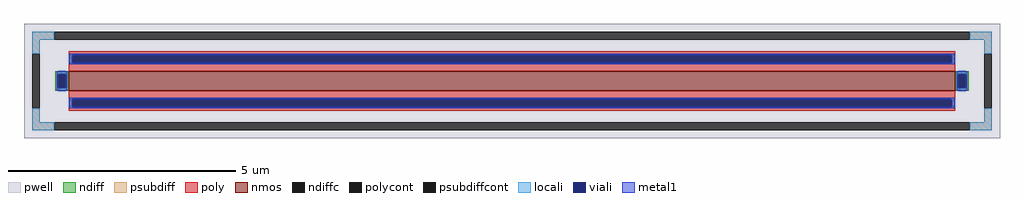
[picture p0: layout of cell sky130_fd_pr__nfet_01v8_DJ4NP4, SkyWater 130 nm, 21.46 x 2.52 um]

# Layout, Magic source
magic
tech sky130A
<< pwell >>
rect -1073 -126 1073 126
<< nmos >>
rect -975 -21 975 21
<< ndiff >>
rect -1004 15 -975 21
rect -1004 -15 -998 15
rect -981 -15 -975 15
rect -1004 -21 -975 -15
rect 975 15 1004 21
rect 975 -15 981 15
rect 998 -15 1004 15
rect 975 -21 1004 -15
<< ndiffc >>
rect -998 -15 -981 15
rect 981 -15 998 15
<< psubdiff >>
rect -1055 91 -1007 108
rect 1007 91 1055 108
rect -1055 60 -1038 91
rect 1038 60 1055 91
rect -1055 -91 -1038 -60
rect 1038 -91 1055 -60
rect -1055 -108 -1007 -91
rect 1007 -108 1055 -91
<< psubdiffcont >>
rect -1007 91 1007 108
rect -1055 -60 -1038 60
rect 1038 -60 1055 60
rect -1007 -108 1007 -91
<< poly >>
rect -975 57 975 65
rect -975 40 -967 57
rect 967 40 975 57
rect -975 21 975 40
rect -975 -40 975 -21
rect -975 -57 -967 -40
rect 967 -57 975 -40
rect -975 -65 975 -57
<< polycont >>
rect -967 40 967 57
rect -967 -57 967 -40
<< locali >>
rect -1055 91 -1007 108
rect 1007 91 1055 108
rect -1055 60 -1038 91
rect 1038 60 1055 91
rect -975 40 -967 57
rect 967 40 975 57
rect -998 15 -981 23
rect -998 -23 -981 -15
rect 981 15 998 23
rect 981 -23 998 -15
rect -975 -57 -967 -40
rect 967 -57 975 -40
rect -1055 -91 -1038 -60
rect 1038 -91 1055 -60
rect -1055 -108 -1007 -91
rect 1007 -108 1055 -91
<< viali >>
rect -967 40 967 57
rect -998 -15 -981 15
rect 981 -15 998 15
rect -967 -57 967 -40
<< metal1 >>
rect -973 57 973 60
rect -973 40 -967 57
rect 967 40 973 57
rect -973 37 973 40
rect -1001 15 -978 21
rect -1001 -15 -998 15
rect -981 -15 -978 15
rect -1001 -21 -978 -15
rect 978 15 1001 21
rect 978 -15 981 15
rect 998 -15 1001 15
rect 978 -21 1001 -15
rect -973 -40 973 -37
rect -973 -57 -967 -40
rect 967 -57 973 -40
rect -973 -60 973 -57
<< properties >>
string FIXED_BBOX -1046 -99 1046 99
string gencell sky130_fd_pr__nfet_01v8
string library sky130
string parameters w 0.42 l 19.5 m 1 nf 1 diffcov 100 polycov 100 guard 1 glc 1 grc 1 gtc 1 gbc 1 tbcov 100 rlcov 100 topc 1 botc 1 poverlap 0 doverlap 1 lmin 0.15 wmin 0.42 compatible {sky130_fd_pr__nfet_01v8 sky130_fd_pr__nfet_01v8_lvt  sky130_fd_bs_flash__special_sonosfet_star  sky130_fd_pr__nfet_g5v0d10v5 sky130_fd_pr__nfet_05v0_nvt  sky130_fd_pr__nfet_03v3_nvt} full_metal 1 viasrc 100 viadrn 100 viagate 100 viagb 0 viagr 0 viagl 0 viagt 0
<< end >>
